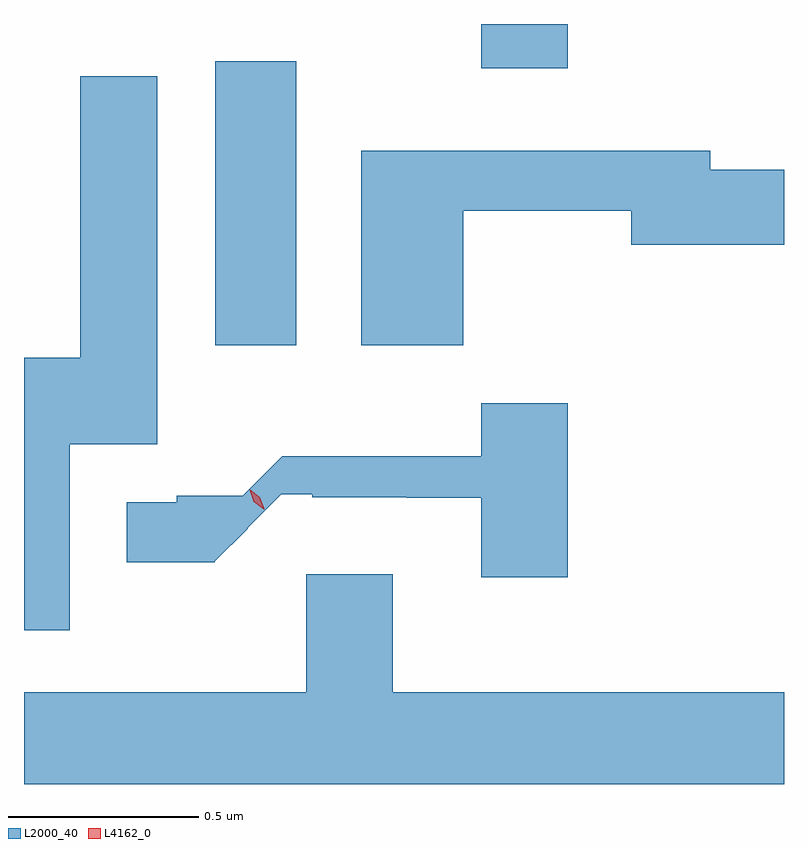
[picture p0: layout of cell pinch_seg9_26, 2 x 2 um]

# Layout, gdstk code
import gdstk
lib = gdstk.Library(unit=1e-6, precision=1e-09)
def R(c, l, rs):  # rectangles x0, y0, x1, y1
    for r in rs: c.add(gdstk.rectangle(r[:2], r[2:], *l))
def P(c, l, *ps):  # polygons
    for p in ps: c.add(gdstk.Polygon(p, *l))
L2000_40 = (2000, 40)
L4162_0 = (4162, 0)

pinch_seg9_26 = lib.new_cell('pinch_seg9_26')
R(pinch_seg9_26, L2000_40, [(857.601,2039.616,857.814,2040.364), (858.301,2040.346,858.529,2040.462)])
P(pinch_seg9_26, L2000_40, [(857.219,2039.356),(857.449,2039.356),(857.449,2040.324),(857.246,2040.324),(857.246,2039.584),(857.098,2039.584),(857.098,2038.866),(857.219,2038.866)],
  [(858.254,2039.971),(858.696,2039.971),(858.696,2039.881),(859.098,2039.881),(859.098,2040.079),(858.904,2040.079),(858.904,2040.129),(857.986,2040.129),(857.986,2039.616),(858.254,2039.616)],
  [(858.529,2039.464),(858.301,2039.464),(858.301,2039.324),(857.778,2039.324),(857.674,2039.22),(857.5,2039.22),(857.5,2039.204),(857.368,2039.204),(857.368,2039.046),(857.6,2039.046),(857.6,2039.048),(857.687,2039.134),(857.686,2039.135),(857.775,2039.224),(857.856,2039.224),(857.856,2039.217),(858.105,2039.217),(858.105,2039.215),(858.301,2039.215),(858.301,2039.006),(858.529,2039.006)],
  [(859.098,2038.704),(858.069,2038.704),(858.069,2039.014),(857.841,2039.014),(857.841,2038.704),(857.098,2038.704),(857.098,2038.462),(859.098,2038.462)])
P(pinch_seg9_26, L4162_0, [(857.729,2039.185),(857.703,2039.205),(857.692,2039.237),(857.692,2039.237),(857.693,2039.237),(857.719,2039.217),(857.73,2039.186),(857.73,2039.185)],
  [(857.724,2039.192),(857.723,2039.193),(857.703,2039.205),(857.698,2039.229),(857.698,2039.23),(857.699,2039.23),(857.719,2039.217),(857.724,2039.193)])

lib.write_gds('pinch_seg9_26.gds')
